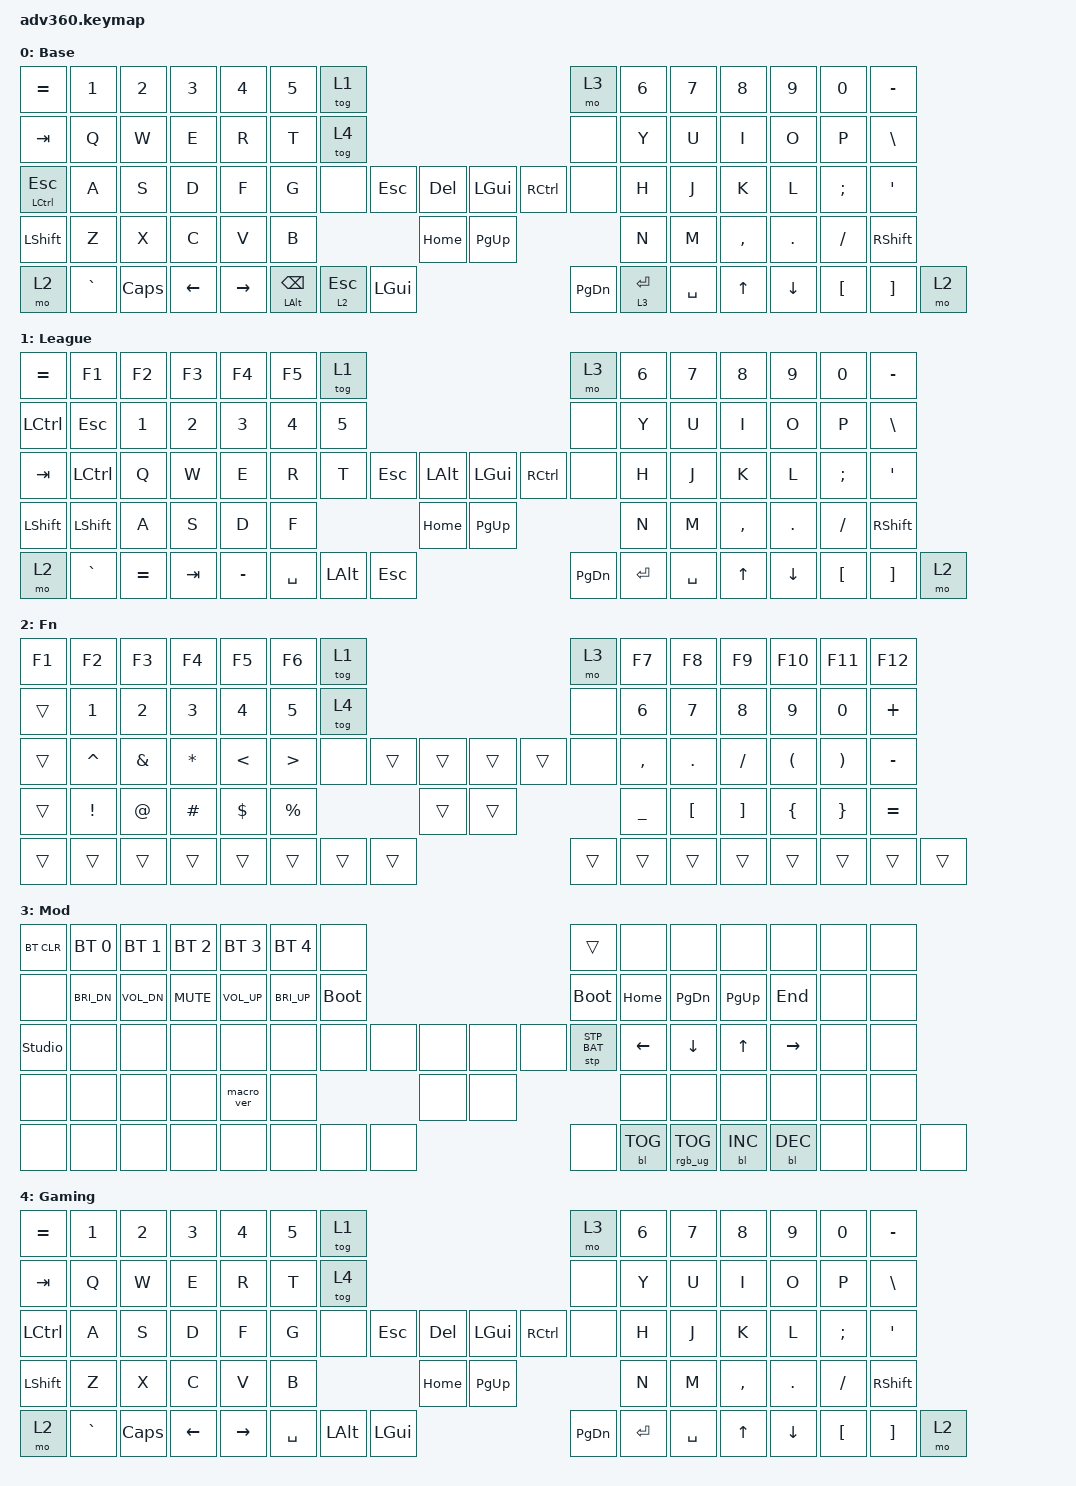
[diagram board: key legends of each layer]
#include <behaviors.dtsi>
#include <dt-bindings/zmk/keys.h>
#include <dt-bindings/zmk/bt.h>
#include <dt-bindings/zmk/rgb.h>
#include <dt-bindings/zmk/stp.h>
#include <dt-bindings/zmk/backlight.h>
#include <dt-bindings/zmk/pointing.h>


&lt {
  tapping-term-ms = <180>;
  quick_tap_ms = <0>;
  flavor = "hold-preferred";
};

&mt {
  tapping-term-ms = <150>;
  quick_tap_ms = <0>;
  flavor = "tap-preferred";
  // retro-tap;
};

/ {
    behaviors {
      #include "macros.dtsi"
      #include "version.dtsi"

      hm: homerow_mods {
          compatible = "zmk,behavior-hold-tap";
          label = "HOMEROW_MODS";
          #binding-cells = <2>;
          tapping-term-ms = <200>;
          quick_tap_ms = <175>;
          flavor = "tap-preferred";
          bindings = <&kp>, <&kp>;
      };
    };

  keymap {
    compatible = "zmk,keymap";

    default_layer {
      display-name = "Base";
      bindings = <
        &kp EQUAL     &kp N1    &kp N2   &kp N3   &kp N4     &kp N5 &tog 1                                                           &mo 3 &kp N6 &kp N7 &kp N8    &kp N9   &kp N0   &kp MINUS
        &kp TAB       &kp Q     &kp W    &kp E    &kp R      &kp T  &tog 4                                                           &none &kp Y  &kp U  &kp I     &kp O    &kp P    &kp BSLH
        &mt LCTRL ESC &kp A     &kp S    &kp D    &kp F      &kp G  &none            &kp ESC  &kp DEL  &kp LGUI  &kp RCTRL           &none &kp H  &kp J  &kp K     &kp L    &kp SEMI &kp SQT
        &kp LSHFT     &kp Z     &kp X    &kp C    &kp V      &kp B                            &kp HOME &kp PG_UP                           &kp N  &kp M  &kp COMMA &kp DOT  &kp FSLH &kp RSHFT
        &mo 2         &kp GRAVE &kp CAPS &kp LEFT &kp RIGHT               &mt LALT BSPC &lt 2 ESC  &kp LGUI &kp PG_DN &lt 3 ENTER &kp SPACE              &kp UP &kp DOWN  &kp LBKT &kp RBKT &mo 2
      >;
    };
    League {
      display-name = "League";
      bindings = <
        &kp EQUAL &kp F1    &kp F2    &kp F3   &kp F4     &kp F5 &tog 1                                                           &mo 3 &kp N6 &kp N7 &kp N8    &kp N9   &kp N0   &kp MINUS
        &kp LCTRL &kp ESC   &kp N1    &kp N2   &kp N3     &kp N4 &kp N5                                                           &none &kp Y  &kp U  &kp I     &kp O    &kp P    &kp BSLH
        &kp TAB   &kp LCTRL &kp Q     &kp W    &kp E      &kp R  &kp T             &kp ESC &kp LALT &kp LGUI  &kp RCTRL           &none &kp H  &kp J  &kp K     &kp L    &kp SEMI &kp SQT
        &kp LSHFT &kp LSHFT &kp A     &kp S    &kp D      &kp F                            &kp HOME &kp PG_UP                           &kp N  &kp M  &kp COMMA &kp DOT  &kp FSLH &kp RSHFT
        &mo 2     &kp GRAVE &kp EQUAL &kp TAB  &kp MINUS                &kp SPACE &kp LALT &kp ESC  &kp PG_DN &kp ENTER &kp SPACE              &kp UP &kp DOWN  &kp LBKT &kp RBKT &mo 2
      >;
    };
    fn {
      display-name = "Fn";
      bindings = <
        &kp F1 &kp F2    &kp F3   &kp F4   &kp F5   &kp F6    &tog 1                                          &mo 3 &kp F7    &kp F8   &kp F9   &kp F10  &kp F11  &kp F12
        &trans &kp N1    &kp N2   &kp N3   &kp N4   &kp N5    &tog 4                                          &none &kp N6    &kp N7   &kp N8   &kp N9   &kp N0   &kp PLUS
        &trans &kp CARET &kp AMPS &kp STAR &kp LT   &kp GT    &none        &trans &trans &trans &trans        &none &kp COMMA &kp DOT  &kp FSLH &kp LPAR &kp RPAR &kp MINUS
        &trans &kp EXCL  &kp AT   &kp HASH &kp DLLR &kp PRCNT                     &trans &trans                     &kp UNDER &kp LBKT &kp RBKT &kp LBRC &kp RBRC &kp EQUAL
        &trans &trans    &trans   &trans   &trans                   &trans &trans &trans &trans &trans &trans                 &trans   &trans   &trans   &trans   &trans
      >;
    };
    mod {
      display-name = "Mod";
      bindings = <
        &bt BT_CLR     &bt BT_SEL 0 &bt BT_SEL 1 &bt BT_SEL 2 &bt BT_SEL 3 &bt BT_SEL 4 &none                                         &trans       &none  &none &none &none &none &none
        &none          &kp C_BRI_DN &kp C_VOL_DN &kp C_MUTE   &kp C_VOL_UP &kp C_BRI_UP &bootloader                                   &bootloader  &kp HOME &kp PG_DN &kp PG_UP &kp END &none &none  
        &studio_unlock &none        &none        &none        &none        &none        &none        &none  &none  &none &none        &stp STP_BAT &kp LEFT &kp DOWN &kp UP &kp RIGHT &none   &none  
        &none          &none        &none        &none        &macro_ver   &none                            &none  &none                           &none  &none &none &none &none &none
        &none          &none        &none        &none        &none                       &none &none &none &none &bl BL_TOG &rgb_ug RGB_TOG       &bl BL_INC &bl BL_DEC &none &none &none
      >;
    };
    gaming { 
      display-name = "Gaming";    
      bindings = <
        &kp EQUAL &kp N1    &kp N2   &kp N3   &kp N4     &kp N5 &tog 1                                                           &mo 3 &kp N6 &kp N7 &kp N8    &kp N9   &kp N0   &kp MINUS
        &kp TAB   &kp Q     &kp W    &kp E    &kp R      &kp T  &tog 4                                                           &none &kp Y  &kp U  &kp I     &kp O    &kp P    &kp BSLH
        &kp LCTRL &kp A     &kp S    &kp D    &kp F      &kp G  &none             &kp ESC &kp DEL  &kp LGUI  &kp RCTRL           &none &kp H  &kp J  &kp K     &kp L    &kp SEMI &kp SQT
        &kp LSHFT &kp Z     &kp X    &kp C    &kp V      &kp B                            &kp HOME &kp PG_UP                           &kp N  &kp M  &kp COMMA &kp DOT  &kp FSLH &kp RSHFT
        &mo 2     &kp GRAVE &kp CAPS &kp LEFT &kp RIGHT                &kp SPACE &kp LALT &kp LGUI &kp PG_DN &kp ENTER &kp SPACE              &kp UP &kp DOWN  &kp LBKT &kp RBKT &mo 2
      >;
    };

    extra2 { 
      display-name = "Purple";    
      status = "reserved";
    };

    extra3 { 
      display-name = "Cyan";    
      status = "reserved";
    };

    extra4 { 
      display-name = "Yellow";    
      status = "reserved";
    };
  };
};
